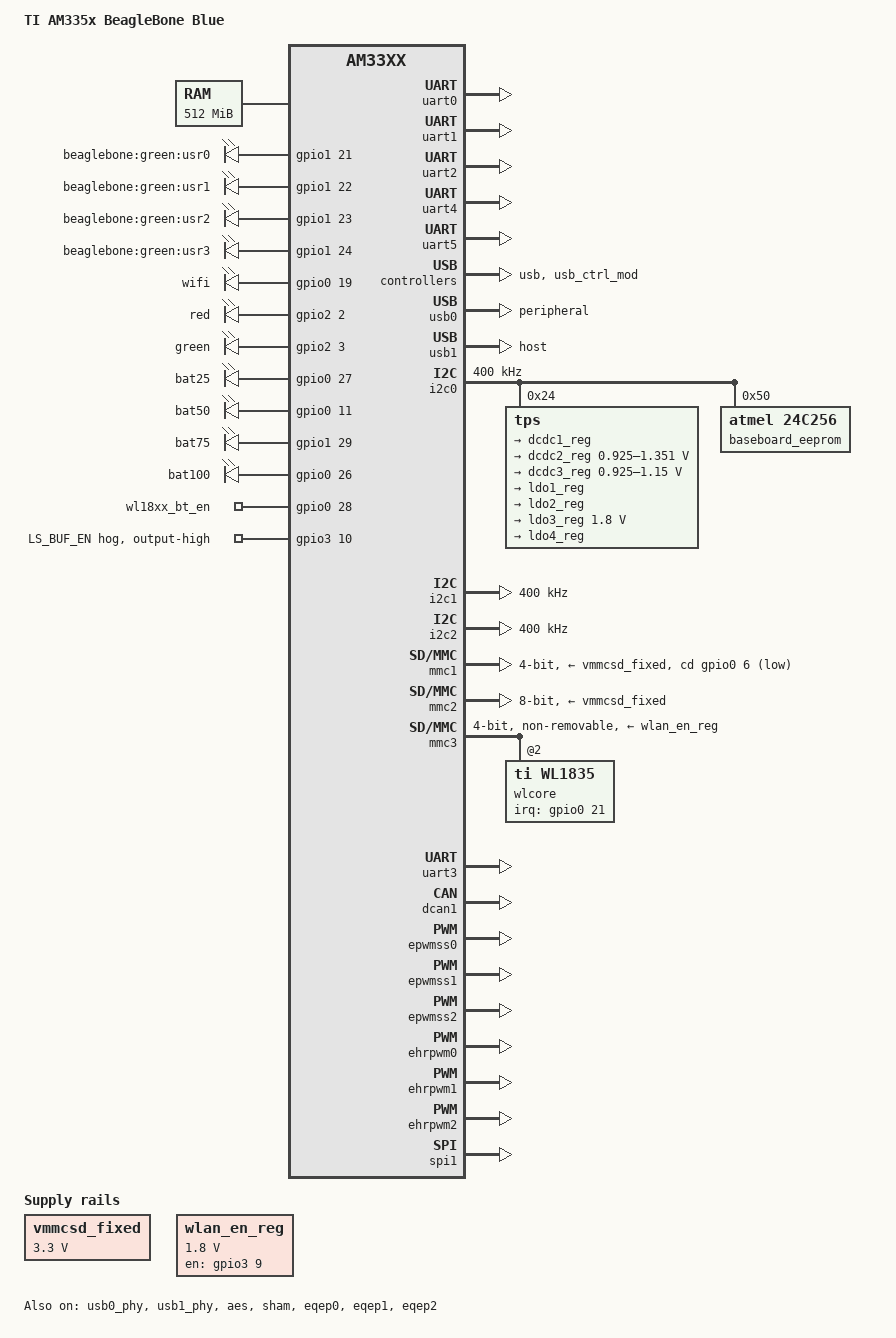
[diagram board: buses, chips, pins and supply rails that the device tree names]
/*
 * Copyright (C) 2012 Texas Instruments Incorporated - http://www.ti.com/
 *
 * This program is free software; you can redistribute it and/or modify
 * it under the terms of the GNU General Public License version 2 as
 * published by the Free Software Foundation.
 */
/dts-v1/;

#include "am33xx.dtsi"
#include <dt-bindings/interrupt-controller/irq.h>

/ {
	model = "TI AM335x BeagleBone Blue";
	compatible = "ti,am335x-bone-blue", "ti,am33xx";

	cpus {
		cpu@0 {
			cpu0-supply = <&dcdc2_reg>;
		};
	};

	memory@80000000 {
		device_type = "memory";
		reg = <0x80000000 0x20000000>; /* 512 MB */
	};

	chosen {
		stdout-path = &uart0;
	};

	leds {
		pinctrl-names = "default";
		pinctrl-0 = <&user_leds_s0>;

		compatible = "gpio-leds";

		usr_0_led {
			label = "beaglebone:green:usr0";
			gpios = <&gpio1 21 GPIO_ACTIVE_HIGH>;
			linux,default-trigger = "heartbeat";
			default-state = "off";
		};

		usr_1_led {
			label = "beaglebone:green:usr1";
			gpios = <&gpio1 22 GPIO_ACTIVE_HIGH>;
			linux,default-trigger = "mmc0";
			default-state = "off";
		};

		usr_2_led {
			label = "beaglebone:green:usr2";
			gpios = <&gpio1 23 GPIO_ACTIVE_HIGH>;
			linux,default-trigger = "cpu0";
			default-state = "off";
		};

		usr_3_led {
			label = "beaglebone:green:usr3";
			gpios = <&gpio1 24 GPIO_ACTIVE_HIGH>;
			linux,default-trigger = "mmc1";
			default-state = "off";
		};

		wifi_led {
			label = "wifi";
			gpios = <&gpio0 19 GPIO_ACTIVE_HIGH>;
			default-state = "off";
			linux,default-trigger = "phy0assoc";
		};

		red_led {
			label = "red";
			gpios = <&gpio2 2 GPIO_ACTIVE_HIGH>;
			default-state = "off";
		};

		green_led {
			label = "green";
			gpios = <&gpio2 3 GPIO_ACTIVE_HIGH>;
			default-state = "off";
		};

		batt_1_led {
			label = "bat25";
			gpios = <&gpio0 27 GPIO_ACTIVE_HIGH>;
			default-state = "off";
		};

		batt_2_led {
			label = "bat50";
			gpios = <&gpio0 11 GPIO_ACTIVE_HIGH>;
			default-state = "off";
		};

		batt_3_led {
			label = "bat75";
			gpios = <&gpio1 29 GPIO_ACTIVE_HIGH>;
			default-state = "off";
		};

		batt_4_led {
			label = "bat100";
			gpios = <&gpio0 26 GPIO_ACTIVE_HIGH>;
			default-state = "off";
		};
	};

	vmmcsd_fixed: fixedregulator0 {
		compatible = "regulator-fixed";
		regulator-name = "vmmcsd_fixed";
		regulator-min-microvolt = <3300000>;
		regulator-max-microvolt = <3300000>;
	};

	wlan_en_reg: fixedregulator@2 {
		compatible = "regulator-fixed";
		regulator-name = "wlan-en-regulator";
		regulator-min-microvolt = <1800000>;
		regulator-max-microvolt = <1800000>;
		startup-delay-us= <70000>;

		/* WL_EN */
		gpio = <&gpio3 9 0>;
		enable-active-high;
	};

	bt_en {
		pinctrl-names = "default";
		pinctrl-0 = <&bt_pins>;
		compatible = "gpio-leds";

		wl18xx_bt_en {
			label = "wl18xx_bt_en";
			gpios = <&gpio0 28 GPIO_ACTIVE_HIGH>;
			default-state = "off";
		};
	};
};

&aliases {
	i2c0 = &i2c0;
	i2c1 = &i2c1;
	i2c2 = &i2c2;
	serial0 = &uart0;
	serial1 = &uart1;
	serial2 = &uart2;
	serial3 = &uart3;
	serial4 = &uart4;
	serial5 = &uart5;
	d_can0 = &dcan0;
	d_can1 = &dcan1;
	usb0 = &usb0;
	usb1 = &usb1;
	phy0 = &usb0_phy;
	phy1 = &usb1_phy;
	ethernet0 = &cpsw_emac0;
	ethernet1 = &cpsw_emac1;
	spi0 = &spi0;
	spi1 = &spi1;
};

&cpu0_opp_table {
	/*
	* All PG 2.0 silicon may not support 1GHz but some of the early
	* BeagleBone Blacks have PG 2.0 silicon which is guaranteed
	* to support 1GHz OPP so enable it for PG 2.0 on this board.
	*/
	oppnitro-1000000000 {
		opp-supported-hw = <0x06 0x0100>;
	};
};

&am33xx_pinmux {
	/***************************************************************************
	* Static Pinmux
	***************************************************************************/
	mux_helper_pins: pins {
		pinctrl-single,pins = <

			/* GPIO Inputs */
			0x09c 0x37	/*P8.9  Pause BUTTON, input pullup*/
			0x098 0x37	/*P8.10 MODE BUTTON input pullup*/
			0x1AC 0x37	/*P9.25 MPU-9150 INTERRUPT IN*/

			/* Motor Control GPIO Out*/
			0x088 ( PIN_OUTPUT | MUX_MODE7 ) /* (T13) gpmc_csn3.gpio2[0] - MDIR_1A different from cape! */
			0x074 ( PIN_OUTPUT | MUX_MODE7 ) /* (U17) gpmc_wpn.gpio0[31] - P9.13, MDIR_1B */
			0x040 ( PIN_OUTPUT | MUX_MODE7 ) /* (R13) gpmc_a0.gpio1[16] - P9.15, MDIR_2A */
			0x0D8 ( PIN_OUTPUT | MUX_MODE7 ) /* (V4) lcd_data14.gpio0[10] - P8.31, MDIR_2B different from cape! */
			0x0AC ( PIN_OUTPUT | MUX_MODE7 ) /* (R4) lcd_data3.gpio2[9] - P8.44, MDIR_3A */
			0x0A8 ( PIN_OUTPUT | MUX_MODE7 ) /* (R3) lcd_data2.gpio2[8] - P8.43, MDIR_3B */
			0x0A0 ( PIN_OUTPUT | MUX_MODE7 ) /* (R1) lcd_data0.gpio2[6] - P8.45, MDIR_4A */
			0x0A4 ( PIN_OUTPUT | MUX_MODE7 ) /* (R2) lcd_data1.gpio2[7] - P8.46, MDIR_4B */
			0x1B4 ( PIN_OUTPUT | MUX_MODE7 ) /* (D14) xdma_event_intr1.gpio0[20] - P9.41, MOT_STBY */

			/* PRU encoder input */
			0x038 0x36	/* P8_16,PRU0_r31_16,MODE6 */

			/* PRU Servo output */
			0x0e0 0x05	/*pru1_pru_r30_8, MODE5*/
			0x0e8 0x05	/*pru1_pru_r30_10, MODE5 */
			0x0e4 0x05	/*pr1_pru1_pru_r30_9, MODE5 */
			0x0ec 0x05	/*pru1_pru_r30_11, MODE5 */
			0x0b8 0x05	/*pru1_pru_r30_6, MODE5 */
			0x0bc 0x05	/*pru1_pru_r30_7, MODE5 */
			0x0b0 0x05	/*pru1_pru_r30_4, MODE5 */
			0x0b4 0x05	/*pru1_pru_r30_5, MODE5 */
			0x0C8 0x0F	/*P8.36, SERVO_PWR GPIO OUT*/

			/* WILINK 8 */
			0x08c 0x0F	/*P8.18 V12 A2DP FSYNC */
			0x078 0x0F	/*P9.12 A2DP_CLOCK*/
		>;

		/* D13 BLUE_GP0_PIN_5 gpio 3_20  */
		D13_default_pin: pinmux_D13_default_pin {
			pinctrl-single,pins = < 0x1A8 ( PIN_INPUT_PULLUP | MUX_MODE7 ) >; };
		D13_gpio_pin: pinmux_D13_gpio_pin {
			pinctrl-single,pins = < 0x1A8 ( PIN_OUTPUT | MUX_MODE7 ) >; };
		D13_gpio_pu_pin: pinmux_D13_gpio_pu_pin {
			pinctrl-single,pins = < 0x1A8 ( PIN_INPUT_PULLUP | MUX_MODE7 ) >; };
		D13_gpio_pd_pin: pinmux_D13_gpio_pd_pin {
			pinctrl-single,pins = < 0x1A8 ( PIN_INPUT_PULLDOWN | MUX_MODE7 ) >; };

		/* H17 BLUE_GP1_PIN_4 gpio 3_1  */
		H17_default_pin: pinmux_H17_default_pin {
			pinctrl-single,pins = < 0x10C ( PIN_INPUT_PULLUP | MUX_MODE7 ) >; };
		H17_gpio_pin: pinmux_H17_gpio_pin {
			pinctrl-single,pins = < 0x10C ( PIN_OUTPUT | MUX_MODE7 ) >; };
		H17_gpio_pu_pin: pinmux_H17_gpio_pu_pin {
			pinctrl-single,pins = < 0x10C ( PIN_INPUT_PULLUP | MUX_MODE7 ) >; };
		H17_gpio_pd_pin: pinmux_H17_gpio_pd_pin {
			pinctrl-single,pins = < 0x10C ( PIN_INPUT_PULLDOWN | MUX_MODE7 ) >; };

		/* J15 BLUE_GP1_PIN_3 gpio 3_2  */
		J15_default_pin: pinmux_J15_default_pin {
			pinctrl-single,pins = < 0x110 ( PIN_INPUT_PULLUP | MUX_MODE7 ) >; };
		J15_gpio_pin: pinmux_J15_gpio_pin {
			pinctrl-single,pins = < 0x110 ( PIN_OUTPUT | MUX_MODE7 ) >; };
		J15_gpio_pu_pin: pinmux_J15_gpio_pu_pin {
			pinctrl-single,pins = < 0x110 ( PIN_INPUT_PULLUP | MUX_MODE7 ) >; };
		J15_gpio_pd_pin: pinmux_J15_gpio_pd_pin {
			pinctrl-single,pins = < 0x110 ( PIN_INPUT_PULLDOWN | MUX_MODE7 ) >; };

		/* P8_15 (ZCZ ball U13) */
		P8_15_default_pin: pinmux_P8_15_default_pin {
			pinctrl-single,pins = <0x03c  0x27>; };     /* Mode 7, Pull-Down, RxActive */
		P8_15_gpio_pin: pinmux_P8_15_gpio_pin {
			pinctrl-single,pins = <0x03c  0x2F>; };     /* Mode 7, RxActive */
		P8_15_gpio_pu_pin: pinmux_P8_15_gpio_pu_pin {
			pinctrl-single,pins = <0x03c  0x37>; };     /* Mode 7, Pull-Up, RxActive */
		P8_15_gpio_pd_pin: pinmux_P8_15_gpio_pd_pin {
			pinctrl-single,pins = <0x03c  0x27>; };     /* Mode 7, Pull-Down, RxActive */
		P8_15_pruin_pin: pinmux_P8_15_pruin_pin {
			pinctrl-single,pins = <0x03c  0x26>; };     /* Mode 6, Pull-Down, RxActive */
		P8_15_qep_pin: pinmux_P8_15_qep_pin {
			pinctrl-single,pins = <0x03c  0x24>; };     /* Mode 4, Pull-Down, RxActive */
		P8_15_pruin_pu_pin: pinmux_P8_15_pruin_pu_pin {
			pinctrl-single,pins = <0x03c  0x36>; };     /* Mode 6, Pull-Up, RxActive */
		P8_15_pruecapin_pu_pin: pinmux_P8_15_pruecapin_pu_pin {
			pinctrl-single,pins = <0x03c  0x35>; };     /* Mode 5, Pull-Up, RxActive */

		/* P9_11 (ZCZ ball T17) */
		P9_11_default_pin: pinmux_P9_11_default_pin {
			pinctrl-single,pins = <0x070  0x37>; };     /* Mode 7, Pull-Up, RxActive */
		P9_11_gpio_pin: pinmux_P9_11_gpio_pin {
			pinctrl-single,pins = <0x070  0x2F>; };     /* Mode 7, RxActive */
		P9_11_gpio_pu_pin: pinmux_P9_11_gpio_pu_pin {
			pinctrl-single,pins = <0x070  0x37>; };     /* Mode 7, Pull-Up, RxActive */
		P9_11_gpio_pd_pin: pinmux_P9_11_gpio_pd_pin {
			pinctrl-single,pins = <0x070  0x27>; };     /* Mode 7, Pull-Down, RxActive */
		P9_11_uart_pin: pinmux_P9_11_uart_pin {
			pinctrl-single,pins = <0x070  0x36>; };     /* Mode 6, Pull-Up, RxActive */

		/* P9_23 (ZCZ ball V14) */
		P9_23_default_pin: pinmux_P9_23_default_pin {
			pinctrl-single,pins = <0x044  0x27>; };     /* Mode 7, Pull-Down, RxActive */
		P9_23_gpio_pin: pinmux_P9_23_gpio_pin {
			pinctrl-single,pins = <0x044  0x2F>; };     /* Mode 7, RxActive */
		P9_23_gpio_pu_pin: pinmux_P9_23_gpio_pu_pin {
			pinctrl-single,pins = <0x044  0x37>; };     /* Mode 7, Pull-Up, RxActive */
		P9_23_gpio_pd_pin: pinmux_P9_23_gpio_pd_pin {
			pinctrl-single,pins = <0x044  0x27>; };     /* Mode 7, Pull-Down, RxActive */
		P9_23_pwm_pin: pinmux_P9_23_pwm_pin {
			pinctrl-single,pins = <0x044  0x26>; };     /* Mode 6, Pull-Down, RxActive */

		/* P9_28 (ZCZ ball C12) Audio   */
		P9_28_default_pin: pinmux_P9_28_default_pin {
			pinctrl-single,pins = <0x19c  0x27>; };     /* Mode 7, Pull-Down, RxActive */
		P9_28_gpio_pin: pinmux_P9_28_gpio_pin {
			pinctrl-single,pins = <0x19c  0x2F>; };     /* Mode 7, RxActive */
		P9_28_gpio_pu_pin: pinmux_P9_28_gpio_pu_pin {
			pinctrl-single,pins = <0x19c  0x37>; };     /* Mode 7, Pull-Up, RxActive */
		P9_28_gpio_pd_pin: pinmux_P9_28_gpio_pd_pin {
			pinctrl-single,pins = <0x19c  0x27>; };     /* Mode 7, Pull-Down, RxActive */
		P9_28_pwm_pin: pinmux_P9_28_pwm_pin {
			pinctrl-single,pins = <0x19c  0x21>; };     /* Mode 1, Pull-Down, RxActive */
		P9_28_spi_pin: pinmux_P9_28_spi_pin {
			pinctrl-single,pins = <0x19c  0x23>; };     /* Mode 3, Pull-Down, RxActive */
		P9_28_pwm2_pin: pinmux_P9_28_pwm2_pin {
			pinctrl-single,pins = <0x19c  0x24>; };     /* Mode 4, Pull-Down, RxActive */
		P9_28_pruout_pin: pinmux_P9_28_pruout_pin {
			pinctrl-single,pins = <0x19c  0x25>; };     /* Mode 5, Pull-Down, RxActive */
		P9_28_pruin_pin: pinmux_P9_28_pruin_pin {
			pinctrl-single,pins = <0x19c  0x26>; };     /* Mode 6, Pull-Down, RxActive */
		P9_28_audio_pin: pinmux_P9_28_audio_pin {
			pinctrl-single,pins = <0x19c  (PIN_OUTPUT_PULLDOWN | MUX_MODE2)>; };	/* mcasp0_ahclkr.mcasp0_axr2 */

		/* U16 BLUE_GP0_PIN_3 gpio 1_25   */
		U16_default_pin: pinmux_U16_default_pin {
			pinctrl-single,pins = < 0x064 ( PIN_INPUT_PULLUP | MUX_MODE7 ) >; };
		U16_gpio_pin: pinmux_U16_gpio_pin {
			pinctrl-single,pins = < 0x064 ( PIN_OUTPUT | MUX_MODE7 ) >; };
		U16_gpio_pu_pin: pinmux_U16_gpio_pu_pin {
			pinctrl-single,pins = < 0x064 ( PIN_INPUT_PULLUP | MUX_MODE7 ) >; };
		U16_gpio_pd_pin: pinmux_U16_gpio_pd_pin {
			pinctrl-single,pins = < 0x064 ( PIN_INPUT_PULLDOWN | MUX_MODE7 ) >; };

	};

	user_leds_s0: user_leds_s0 {
		pinctrl-single,pins = <
			AM33XX_IOPAD(0x854, PIN_OUTPUT | MUX_MODE7) /* (V15) gpmc_a5.gpio1[21] - USR_LED_0 */
			AM33XX_IOPAD(0x858, PIN_OUTPUT | MUX_MODE7) /* (U15) gpmc_a6.gpio1[22] - USR_LED_1 */
			AM33XX_IOPAD(0x85c, PIN_OUTPUT | MUX_MODE7) /* (T15) gpmc_a7.gpio1[23] - USR_LED_2 */
			AM33XX_IOPAD(0x860, PIN_OUTPUT | MUX_MODE7) /* (V16) gpmc_a8.gpio1[24] - USR_LED_3 */
			AM33XX_IOPAD(0x9b0, PIN_OUTPUT | MUX_MODE7) /* (A15) xdma_event_intr0.gpio0[19] - WIFI_LED */
			AM33XX_IOPAD(0x890, PIN_OUTPUT | MUX_MODE7) /* (R7) gpmc_advn_ale.gpio2[2] - P8.7, LED_RED, GP1_PIN_5 */
			AM33XX_IOPAD(0x894, PIN_OUTPUT | MUX_MODE7) /* (T7) gpmc_oen_ren.gpio2[3] - P8.8, LED_GREEN, GP1_PIN_6 */
			AM33XX_IOPAD(0x82c, PIN_OUTPUT | MUX_MODE7) /* (U12) gpmc_ad11.gpio0[27] - P8.17, BATT_LED_1 */
			AM33XX_IOPAD(0x8dc, PIN_OUTPUT | MUX_MODE7) /* (T5) lcd_data15.gpio0[11] - P8.32, BATT_LED_2 */
			AM33XX_IOPAD(0x87c, PIN_OUTPUT | MUX_MODE7) /* (V6) gpmc_csn0.gpio1[29] - P8.26, BATT_LED_3 */
			AM33XX_IOPAD(0x828, PIN_OUTPUT | MUX_MODE7) /* (T11) gpmc_ad10.gpio0[26] - P8.14, BATT_LED_4 */
		>;
	};

	i2c0_pins: pinmux_i2c0_pins {
		pinctrl-single,pins = <
			AM33XX_IOPAD(0x988, PIN_INPUT_PULLUP | MUX_MODE0)	/* (C17) I2C0_SDA.I2C0_SDA */
			AM33XX_IOPAD(0x98c, PIN_INPUT_PULLUP | MUX_MODE0)	/* (C16) I2C0_SCL.I2C0_SCL */
		>;
	};

	i2c1_pins: pinmux_i2c1_pins {
		pinctrl-single,pins = <
			0x15C 0x32	/* P9.17,i2c1_scl,INPUT_PULLUP,MODE2 */
			0x158 0x32	/* P9.18,i2c1_sda,INPUT_PULLUP,MODE2 */
		>;
	};

	i2c2_pins: pinmux_i2c2_pins {
		pinctrl-single,pins = <
			AM33XX_IOPAD(0x978, PIN_INPUT_PULLUP | MUX_MODE3)	/* (D18) uart1_ctsn.I2C2_SDA */
			AM33XX_IOPAD(0x97c, PIN_INPUT_PULLUP | MUX_MODE3)	/* (D17) uart1_rtsn.I2C2_SCL */
		>;
	};

	uart0_pins: pinmux_uart0_pins {
		pinctrl-single,pins = <
			AM33XX_IOPAD(0x970, PIN_INPUT_PULLUP | MUX_MODE0)	/* (E15) uart0_rxd.uart0_rxd */
			AM33XX_IOPAD(0x974, PIN_OUTPUT_PULLDOWN | MUX_MODE0)	/* (E16) uart0_txd.uart0_txd */
		>;
	};

	uart1_pins: pinmux_uart1_pins {
		pinctrl-single,pins = <
			AM33XX_IOPAD(0x980, PIN_INPUT_PULLUP | MUX_MODE0)	/* (D16) uart1_rxd.uart1_rxd */
			AM33XX_IOPAD(0x984, PIN_OUTPUT_PULLDOWN | MUX_MODE0)	/* (D15) uart1_txd.uart1_txd */
		>;
	};

	uart2_pins: pinmux_uart2_pins {
		pinctrl-single,pins = <
			AM33XX_IOPAD(0x950, PIN_INPUT_PULLUP | MUX_MODE1)	/* (A17) spi0_sclk.uart2_rxd */
			AM33XX_IOPAD(0x954, PIN_OUTPUT_PULLDOWN | MUX_MODE1)	/* (B17) spi0_d0.uart2_txd */
		>;
	};

	uart5_pins: pinmux_uart5_pins {
		pinctrl-single,pins = <
			AM33XX_IOPAD(0x8C4, PIN_INPUT_PULLUP | MUX_MODE4)	/* (U2) lcd_data9.uart5_rxd */
			AM33XX_IOPAD(0x8C0, PIN_OUTPUT_PULLDOWN | MUX_MODE4)	/* (U1) lcd_data8.uart5_txd */
		>;
	};

	mmc1_pins: pinmux_mmc1_pins {
		pinctrl-single,pins = <
			AM33XX_IOPAD(0x960, PIN_INPUT | MUX_MODE7)		/* (C15) spi0_cs1.gpio0[6] */
		>;
	};

	mmc2_pins: pinmux_mmc2_pins {
		pinctrl-single,pins = <
			AM33XX_IOPAD(0x880, PIN_INPUT_PULLUP | MUX_MODE2)	/* (U9) gpmc_csn1.mmc1_clk */
			AM33XX_IOPAD(0x884, PIN_INPUT_PULLUP | MUX_MODE2)	/* (V9) gpmc_csn2.mmc1_cmd */
			AM33XX_IOPAD(0x800, PIN_INPUT_PULLUP | MUX_MODE1)	/* (U7) gpmc_ad0.mmc1_dat0 */
			AM33XX_IOPAD(0x804, PIN_INPUT_PULLUP | MUX_MODE1)	/* (V7) gpmc_ad1.mmc1_dat1 */
			AM33XX_IOPAD(0x808, PIN_INPUT_PULLUP | MUX_MODE1)	/* (R8) gpmc_ad2.mmc1_dat2 */
			AM33XX_IOPAD(0x80c, PIN_INPUT_PULLUP | MUX_MODE1)	/* (T8) gpmc_ad3.mmc1_dat3 */
			AM33XX_IOPAD(0x810, PIN_INPUT_PULLUP | MUX_MODE1)	/* (U8) gpmc_ad4.mmc1_dat4 */
			AM33XX_IOPAD(0x814, PIN_INPUT_PULLUP | MUX_MODE1)	/* (V8) gpmc_ad5.mmc1_dat5 */
			AM33XX_IOPAD(0x818, PIN_INPUT_PULLUP | MUX_MODE1)	/* (R9) gpmc_ad6.mmc1_dat6 */
			AM33XX_IOPAD(0x81c, PIN_INPUT_PULLUP | MUX_MODE1)	/* (T9) gpmc_ad7.mmc1_dat7 */
		>;
	};

	mmc3_pins: pinmux_mmc3_pins {
		pinctrl-single,pins = <
			AM33XX_IOPAD(0x93c, PIN_INPUT_PULLUP | MUX_MODE6)	/* (L15) gmii1_rxd1.mmc2_clk */
			AM33XX_IOPAD(0x914, PIN_INPUT_PULLUP | MUX_MODE6)	/* (J16) gmii1_txen.mmc2_cmd */
			AM33XX_IOPAD(0x918, PIN_INPUT_PULLUP | MUX_MODE5)	/* (J17) gmii1_rxdv.mmc2_dat0 */
			AM33XX_IOPAD(0x91c, PIN_INPUT_PULLUP | MUX_MODE5)	/* (J18) gmii1_txd3.mmc2_dat1 */
			AM33XX_IOPAD(0x920, PIN_INPUT_PULLUP | MUX_MODE5)	/* (K15) gmii1_txd2.mmc2_dat2 */
			AM33XX_IOPAD(0x908, PIN_INPUT_PULLUP | MUX_MODE5)	/* (H16) gmii1_col.mmc2_dat3 */
		>;
	};

	bt_pins: pinmux_bt_pins {
		pinctrl-single,pins = <
			AM33XX_IOPAD(0x928, PIN_OUTPUT_PULLUP | MUX_MODE7)	/* (K17) gmii1_txd0.gpio0[28] - BT_EN */
		>;
	};

	uart3_pins: pinmux_uart3_pins {
		pinctrl-single,pins = <
			AM33XX_IOPAD(0x934, PIN_INPUT_PULLUP | MUX_MODE1)	/* (L17) gmii1_rxd3.uart3_rxd */
			AM33XX_IOPAD(0x938, PIN_OUTPUT_PULLDOWN | MUX_MODE1)	/* (L16) gmii1_rxd2.uart3_txd */
			AM33XX_IOPAD(0x948, PIN_INPUT | MUX_MODE3)		/* (M17) mdio_data.uart3_ctsn */
			AM33XX_IOPAD(0x94c, PIN_OUTPUT_PULLDOWN | MUX_MODE3)	/* (M18) mdio_clk.uart3_rtsn */
		>;
	};

	wl18xx_pins: pinmux_wl18xx_pins {
		pinctrl-single,pins = <
			AM33XX_IOPAD(0x92c, PIN_OUTPUT_PULLDOWN | MUX_MODE7)	/* (K18) gmii1_txclk.gpio3[9] - WL_EN */
			AM33XX_IOPAD(0x924, PIN_INPUT_PULLUP | MUX_MODE7)	/* (K16) gmii1_txd1.gpio0[21] - WL_IRQ */
			AM33XX_IOPAD(0x930, PIN_OUTPUT_PULLUP | MUX_MODE7)	/* (L18) gmii1_rxclk.gpio3[10] - LS_BUF_EN */
		>;
	};

	/* DCAN */
	dcan1_pins: pinmux_dcan1_pins {
		pinctrl-single,pins = <
			AM33XX_IOPAD(0x96c, PIN_INPUT | MUX_MODE2)		/* (E17) uart0_rtsn.dcan1_rx */
			AM33XX_IOPAD(0x968, PIN_OUTPUT | MUX_MODE2)		/* (E18) uart0_ctsn.dcan1_tx */
			AM33XX_IOPAD(0x940, PIN_OUTPUT | MUX_MODE7)		/* (M16) gmii1_rxd0.gpio2[21] */
		>;
	};

	ehrpwm1_pins: pinmux_ehrpwm1_pins {
		pinctrl-single,pins = <
			0x020  0x24 /* P8_19_pwm_pin */
			0x024  0x24 /* P8_13_pwm_pin */
		>;
	};

	ehrpwm2_pins: pinmux_ehrpwm2_pins {
		pinctrl-single,pins = <
			0x048  0x26 /* P9_14_pwm_pin */
			0x04c  0x26 /* P9_16_pwm_pin */
		>;
	};

	eqep0_pins: pinmux_eqep0_pins {
		pinctrl-single,pins = <
			0x1a0  0x21 /* P9_92_qep_pin */
			0x1a4  0x21 /* P9_27_qep_pin */
		>;
	};

	eqep1_pins: pinmux_eqep1_pins {
		pinctrl-single,pins = <
			0x0d4  0x22 /* P8_33_qep_pin */
			0x0d0  0x22 /* P8_35_qep_pin */
		>;
	};

	eqep2_pins: pinmux_eqep2_pins {
		pinctrl-single,pins = <
			0x030  0x24 /* P8_12_qep_pin */
			0x034  0x24 /* P8_11_qep_pin */
		>;
	};

	spi1_pins: pinmux_spi1_pins {
		pinctrl-single,pins = <
			0x190  0x23 /* spi1_sclk */
			0x194  0x23 /* spi1_d0 */
			0x198  0x23 /* spi1_d1 */
			0x144 ( PIN_OUTPUT | MUX_MODE2 ) /* spi1_cs0 */
			0x164 ( PIN_OUTPUT | MUX_MODE2 ) /* spi1_cs1 */
		>;
	};
};

&uart0 {
	pinctrl-names = "default";
	pinctrl-0 = <&uart0_pins>;

	status = "okay";
};

&uart1 {
	pinctrl-names = "default";
	pinctrl-0 = <&uart1_pins>;

	status = "okay";
};

&uart2 {
	pinctrl-names = "default";
	pinctrl-0 = <&uart2_pins>;

	status = "okay";
};

&uart4 {
	pinctrl-names = "default";
	status = "okay";
};

&uart5 {
	pinctrl-names = "default";
	pinctrl-0 = <&uart5_pins>;

	status = "okay";
};

&usb {
	status = "okay";
};

&usb_ctrl_mod {
	status = "okay";
};

&usb0_phy {
	status = "okay";
};

&usb1_phy {
	status = "okay";
};

&usb0 {
	status = "okay";
	dr_mode = "peripheral";
	interrupts-extended = <&intc 18 &tps 0>;
	interrupt-names = "mc", "vbus";
};

&usb1 {
	status = "okay";
	dr_mode = "host";
};

&cppi41dma  {
	status = "okay";
};

&i2c0 {
	pinctrl-names = "default";
	pinctrl-0 = <&i2c0_pins>;

	status = "okay";
	clock-frequency = <400000>;

	tps: tps@24 {
		reg = <0x24>;
	};

	baseboard_eeprom: baseboard_eeprom@50 {
		compatible = "atmel,24c256";
		reg = <0x50>;

		#address-cells = <1>;
		#size-cells = <1>;
		baseboard_data: baseboard_data@0 {
			reg = <0 0x100>;
		};
	};
};

&i2c1 {
	pinctrl-names = "default";
	pinctrl-0 = <&i2c1_pins>;
	status = "okay";
	clock-frequency = <400000>;
};

&i2c2 {
	pinctrl-names = "default";
	pinctrl-0 = <&i2c2_pins>;

	status = "okay";
	clock-frequency = <400000>;
};

/include/ "tps65217.dtsi"

&tps {
	interrupts = <7>; /* NMI */
	interrupt-parent = <&intc>;

	ti,pmic-shutdown-controller;

	charger {
		status = "okay";
	};

	pwrbutton {
		status = "okay";
	};

	regulators {
		dcdc1_reg: regulator@0 {
			regulator-name = "vdds_dpr";
			regulator-always-on;
		};

		dcdc2_reg: regulator@1 {
			/* VDD_MPU voltage limits 0.95V - 1.26V with +/-4% tolerance */
			regulator-name = "vdd_mpu";
			regulator-min-microvolt = <925000>;
			regulator-max-microvolt = <1351500>;
			regulator-boot-on;
			regulator-always-on;
		};

		dcdc3_reg: regulator@2 {
			/* VDD_CORE voltage limits 0.95V - 1.1V with +/-4% tolerance */
			regulator-name = "vdd_core";
			regulator-min-microvolt = <925000>;
			regulator-max-microvolt = <1150000>;
			regulator-boot-on;
			regulator-always-on;
		};

		ldo1_reg: regulator@3 {
			regulator-name = "vio,vrtc,vdds";
			regulator-always-on;
		};

		ldo2_reg: regulator@4 {
			regulator-name = "vdd_3v3aux";
			regulator-always-on;
		};

		ldo3_reg: regulator@5 {
			regulator-name = "vdd_1v8";
			regulator-min-microvolt = <1800000>;
			regulator-max-microvolt = <1800000>;
			regulator-always-on;
		};

		ldo4_reg: regulator@6 {
			regulator-name = "vdd_3v3a";
			regulator-always-on;
		};
	};
};

&mmc1 {
	status = "okay";
	vmmc-supply = <&vmmcsd_fixed>;
	bus-width = <4>;
	pinctrl-names = "default";
	pinctrl-0 = <&mmc1_pins>;
	cd-gpios = <&gpio0 6 GPIO_ACTIVE_LOW>;
};

&mmc2 {
	status = "okay";
	vmmc-supply = <&vmmcsd_fixed>;
	bus-width = <8>;
	pinctrl-names = "default";
	pinctrl-0 = <&mmc2_pins>;
};

&mmc3 {
	dmas = <&edma_xbar 12 0 1
		&edma_xbar 13 0 2>;
	dma-names = "tx", "rx";
	status = "okay";
	vmmc-supply = <&wlan_en_reg>;
	bus-width = <4>;
	non-removable;
	cap-power-off-card;
	ti,needs-special-hs-handling;
	keep-power-in-suspend;
	pinctrl-names = "default";
	pinctrl-0 = <&mmc3_pins &wl18xx_pins>;

	#address-cells = <1>;
	#size-cells = <0>;
	wlcore: wlcore@2 {
		compatible = "ti,wl1835";
		reg = <2>;
		interrupt-parent = <&gpio0>;
		interrupts = <21 IRQ_TYPE_EDGE_RISING>;
	};
};

//&tscadc {
//	status = "okay";
//	adc {
//		ti,adc-channels = <0 1 2 3 4 5 6 7>;
//	};
//};

&uart3 {
	pinctrl-names = "default";
	//pinctrl-0 = <&uart3_pins &bt_pins>;
	pinctrl-0 = <&uart3_pins>;
	status = "okay";

//	bluetooth {
//		compatible = "ti,wl1835-st";
//		enable-gpios = <&gpio0 28 GPIO_ACTIVE_HIGH>;
//	};
};

&aes {
	status = "okay";
};

&sham {
	status = "okay";
};

&rtc {
	system-power-controller;
};

&wkup_m3_ipc {
	ti,scale-data-fw = "am335x-bone-scale-data.bin";
};

//&pruss_soc_bus {
//	status = "okay";
//
//	pruss: pruss@0 {
//		status = "okay";
//	};
//};

&dcan1 {
	pinctrl-names = "default";
	pinctrl-0 = <&dcan1_pins>;
	status = "okay";
};

&gpio3 {
	ls_buf_en {
		gpio-hog;
		gpios = <10 GPIO_ACTIVE_HIGH>;
		output-high;
		line-name = "LS_BUF_EN";
	};
};

&ocp {
	/* activate the static pinmux helper list of pin modes above */
	test_helper: helper {
		compatible = "bone-pinmux-helper";
		pinctrl-names = "default";
		pinctrl-0 = <&mux_helper_pins>;

		status = "okay";
	};

	/* Encoder 4 (U13) */
	P8_15_pinmux {
		compatible = "bone-pinmux-helper";
		status = "okay";
		pinctrl-names = "default", "pruin_pu", "gpio", "gpio_pu", "gpio_pd", "pruin", "qep", "pruecapin_pu";
		pinctrl-0 = <&P8_15_pruin_pu_pin>;
		pinctrl-1 = <&P8_15_pruin_pu_pin>;
		pinctrl-2 = <&P8_15_gpio_pin>;
		pinctrl-3 = <&P8_15_gpio_pu_pin>;
		pinctrl-4 = <&P8_15_gpio_pd_pin>;
		pinctrl-5 = <&P8_15_pruin_pin>;
		pinctrl-6 = <&P8_15_qep_pin>;
		pinctrl-7 = <&P8_15_pruecapin_pu_pin>;
	};

	/* UART4 RX DSM */
	P9_11_pinmux {
		compatible = "bone-pinmux-helper";
		status = "okay";
		pinctrl-names = "default", "uart", "gpio", "gpio_pu", "gpio_pd";
		pinctrl-0 = <&P9_11_uart_pin>;
		pinctrl-1 = <&P9_11_uart_pin>;
		pinctrl-2 = <&P9_11_gpio_pin>;
		pinctrl-3 = <&P9_11_gpio_pu_pin>;
		pinctrl-4 = <&P9_11_gpio_pd_pin>;
	};

	/* U16 BLUE_GP0_PIN_3 gpio 1_25*/
	U16_pinmux {
		compatible = "bone-pinmux-helper";
		status = "okay";
		pinctrl-names = "default", "gpio", "gpio_pu", "gpio_pd";
		pinctrl-0 = <&U16_default_pin>;
		pinctrl-1 = <&U16_gpio_pin>;
		pinctrl-2 = <&U16_gpio_pu_pin>;
		pinctrl-3 = <&U16_gpio_pd_pin>;
	};


	/* BLUE_GP0_PIN_3 gpio1_17*/
	P9_23_pinmux {
		compatible = "bone-pinmux-helper";
		status = "okay";
		pinctrl-names = "default", "gpio", "gpio_pu", "gpio_pd", "pwm";
		pinctrl-0 = <&P9_23_default_pin>;
		pinctrl-1 = <&P9_23_gpio_pin>;
		pinctrl-2 = <&P9_23_gpio_pu_pin>;
		pinctrl-3 = <&P9_23_gpio_pd_pin>;
		pinctrl-4 = <&P9_23_pwm_pin>;
	};

	/* BLUE_GP0_PIN_5 gpio3_20 */
	D13_pinmux {
		compatible = "bone-pinmux-helper";
		status = "okay";
		pinctrl-names = "default", "gpio", "gpio_pu", "gpio_pd";
		pinctrl-0 = <&D13_default_pin>;
		pinctrl-1 = <&D13_gpio_pin>;
		pinctrl-2 = <&D13_gpio_pu_pin>;
		pinctrl-3 = <&D13_gpio_pd_pin>;
	};

	/* BLUE_GP0_PIN_6 gpio3_17 */
	P9_28_pinmux {
		compatible = "bone-pinmux-helper";
		status = "okay";
		pinctrl-names = "default", "gpio", "gpio_pu", "gpio_pd", "pwm", "spi", "pwm2", "pruout", "pruin";
		pinctrl-0 = <&P9_28_default_pin>;
		pinctrl-1 = <&P9_28_gpio_pin>;
		pinctrl-2 = <&P9_28_gpio_pu_pin>;
		pinctrl-3 = <&P9_28_gpio_pd_pin>;
		pinctrl-4 = <&P9_28_pwm_pin>;
		pinctrl-5 = <&P9_28_spi_pin>;
		pinctrl-6 = <&P9_28_pwm2_pin>;
		pinctrl-7 = <&P9_28_pruout_pin>;
		pinctrl-8 = <&P9_28_pruin_pin>;
	};

	/* BLUE_GP1_PIN_3 gpio3_2 */
	J15_pinmux {
		compatible = "bone-pinmux-helper";
		status = "okay";
		pinctrl-names = "default", "gpio", "gpio_pu", "gpio_pd";
		pinctrl-0 = <&J15_default_pin>;
		pinctrl-1 = <&J15_gpio_pin>;
		pinctrl-2 = <&J15_gpio_pu_pin>;
		pinctrl-3 = <&J15_gpio_pd_pin>;
	};

	/* BLUE_GP1_PIN_4 gpio3_1 */
	H17_pinmux {
		compatible = "bone-pinmux-helper";
		status = "okay";
		pinctrl-names = "default", "gpio", "gpio_pu", "gpio_pd";
		pinctrl-0 = <&H17_default_pin>;
		pinctrl-1 = <&H17_gpio_pin>;
		pinctrl-2 = <&H17_gpio_pu_pin>;
		pinctrl-3 = <&H17_gpio_pd_pin>;
	};
};

/*******************************************************************************
*	PWMSS
*******************************************************************************/
&epwmss0 {
	status = "okay";
};

&epwmss1 {
	status = "okay";
};

&epwmss2 {
	status = "okay";
};

&ehrpwm0 {
	status = "okay";
};

&ehrpwm1 {
	pinctrl-names = "default";
	pinctrl-0 = <&ehrpwm1_pins>;
	status = "okay";
};

&ehrpwm2 {
	pinctrl-names = "default";
	pinctrl-0 = <&ehrpwm2_pins>;
	status = "okay";
};

/*******************************************************************************
* EQEP
*******************************************************************************/
&eqep0 {
	pinctrl-names = "default";
	pinctrl-0 = <&eqep0_pins>;

	count_mode = <0>;  /* 0 - Quadrature mode, normal 90 phase offset cha & chb.  1 - Direction mode.  cha input = clock, chb input = direction */
	swap_inputs = <0>; /* Are channel A and channel B swapped? (0 - no, 1 - yes) */
	invert_qa = <1>;   /* Should we invert the channel A input?  */
	invert_qb = <1>;   /* Should we invert the channel B input? I invert these because my encoder outputs drive transistors that pull down the pins */
	invert_qi = <0>;   /* Should we invert the index input? */
	invert_qs = <0>;   /* Should we invert the strobe input? */
	status = "okay";
};

&eqep1 {
	pinctrl-names = "default";
	pinctrl-0 = <&eqep1_pins>;

	count_mode = <0>;  /* 0 - Quadrature mode, normal 90 phase offset cha & chb.  1 - Direction mode.  cha input = clock, chb input = direction */
	swap_inputs = <0>; /* Are channel A and channel B swapped? (0 - no, 1 - yes) */
	invert_qa = <1>;   /* Should we invert the channel A input?  */
	invert_qb = <1>;   /* Should we invert the channel B input? I invert these because my encoder outputs drive transistors that pull down the pins */
	invert_qi = <0>;   /* Should we invert the index input? */
	invert_qs = <0>;   /* Should we invert the strobe input? */
	status = "okay";
};

&eqep2 {
	pinctrl-names = "default";
	pinctrl-0 = <&eqep2_pins>;

	count_mode = <0>;  /* 0 - Quadrature mode, normal 90 phase offset cha & chb.  1 - Direction mode.  cha input = clock, chb input = direction */
	swap_inputs = <0>; /* Are channel A and channel B swapped? (0 - no, 1 - yes) */
	invert_qa = <1>;   /* Should we invert the channel A input?  */
	invert_qb = <1>;   /* Should we invert the channel B input? I invert these because my encoder outputs drive transistors that pull down the pins */
	invert_qi = <0>;   /* Should we invert the index input? */
	invert_qs = <0>;   /* Should we invert the strobe input? */
	status = "okay";
};

/*******************************************************************************
	SPI
*******************************************************************************/
&spi1 {
	pinctrl-names = "default";
	pinctrl-0 = <&spi1_pins>;

	#address-cells = <1>;
	#size-cells = <0>;
	status = "okay";

	channel@0 {
		#address-cells = <1>;
		#size-cells = <0>;
		compatible = "spidev";
		reg = <0>;
		spi-max-frequency = <24000000>;
	};

	channel@1 {
		#address-cells = <1>;
		#size-cells = <0>;
		compatible = "spidev";
		reg = <1>;
		spi-max-frequency = <24000000>;
	};
};
